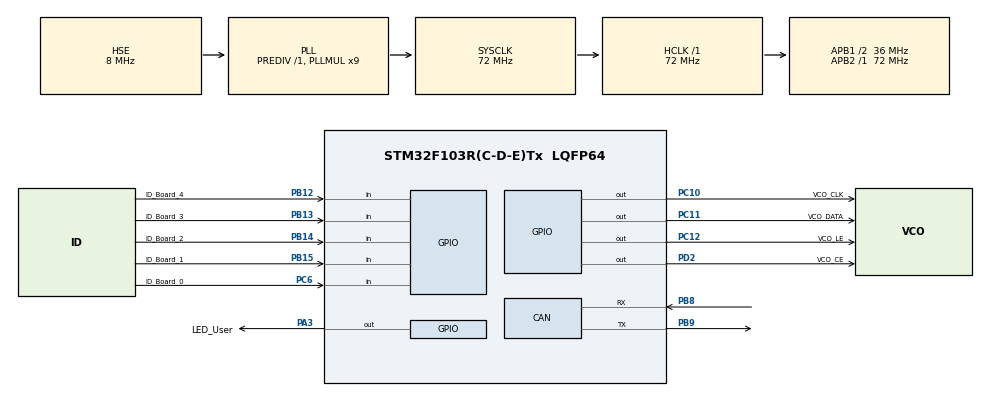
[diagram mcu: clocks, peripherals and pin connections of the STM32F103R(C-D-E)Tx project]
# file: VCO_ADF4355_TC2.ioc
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CAN.ABOM=ENABLE
CAN.AWUM=ENABLE
CAN.BS1=CAN_BS1_3TQ
CAN.BS2=CAN_BS2_5TQ
CAN.CalculateTimeBit=4000
CAN.CalculateTimeQuantum=444.44444444444446
Mcu.Family=STM32F1
Mcu.Name=STM32F103R(C-D-E)Tx
Mcu.Package=LQFP64
NVIC.PriorityGroup=NVIC_PRIORITYGROUP_4
NVIC.USB_LP_CAN1_RX0_IRQn=true\:0\:0\:false\:false\:true\:true
PA3.GPIO_Label=LED_User
PA3.GPIO_Speed=GPIO_SPEED_FREQ_LOW
PA3.Signal=GPIO_Output
PB12.GPIO_Label=ID_Board_4
PB12.GPIO_PuPd=GPIO_PULLDOWN
PB12.Signal=GPIO_Input
PB13.GPIO_Label=ID_Board_3
PB13.GPIO_PuPd=GPIO_PULLDOWN
PB13.Signal=GPIO_Input
PB14.GPIO_Label=ID_Board_2
PB14.GPIO_PuPd=GPIO_PULLDOWN
PB14.Signal=GPIO_Input
PB15.GPIO_Label=ID_Board_1
PB15.GPIO_PuPd=GPIO_PULLDOWN
PB15.Signal=GPIO_Input
PB8.Mode=Master
PB8.Signal=CAN_RX
PB9.Mode=Master
PB9.Signal=CAN_TX
PC10.GPIO_Label=VCO_CLK
PC10.GPIO_Speed=GPIO_SPEED_FREQ_HIGH
PC10.Signal=GPIO_Output
PC11.GPIO_Label=VCO_DATA
PC11.GPIO_Speed=GPIO_SPEED_FREQ_HIGH
PC11.Signal=GPIO_Output
PC12.GPIO_Label=VCO_LE
PC12.GPIO_Speed=GPIO_SPEED_FREQ_HIGH
PC12.Signal=GPIO_Output
PC6.GPIO_Label=ID_Board_0
PC6.GPIO_PuPd=GPIO_PULLDOWN
PC6.Signal=GPIO_Input
PD0-OSC_IN.Mode=HSE-External-Oscillator
PD0-OSC_IN.Signal=RCC_OSC_IN
PD1-OSC_OUT.Mode=HSE-External-Oscillator
PD1-OSC_OUT.Signal=RCC_OSC_OUT
PD2.GPIO_Label=VCO_CE
PD2.Signal=GPIO_Output
ProjectManager.HeapSize=0x200
ProjectManager.StackSize=0x400
ProjectManager.TargetToolchain=MDK-ARM V5
RCC.AHBFreq_Value=72000000
RCC.APB1CLKDivider=RCC_HCLK_DIV2
RCC.APB1Freq_Value=36000000
RCC.APB1TimFreq_Value=72000000
RCC.APB2Freq_Value=72000000
RCC.APB2TimFreq_Value=72000000
RCC.HCLKFreq_Value=72000000
RCC.PLLMUL=RCC_PLL_MUL9
RCC.PLLSourceVirtual=RCC_PLLSOURCE_HSE
RCC.SYSCLKFreq_VALUE=72000000
RCC.SYSCLKSource=RCC_SYSCLKSOURCE_PLLCLK
RCC.USBFreq_Value=72000000
VP_SYS_VS_ND.Mode=No_Debug
board=VCO_ADF4355_TC2

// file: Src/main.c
/**
  ******************************************************************************
  * @file           : main.c
  * @brief          : Main program body
  ******************************************************************************
  ** This notice applies to any and all portions of this file
  * that are not between comment pairs USER CODE BEGIN and
  * USER CODE END. Other portions of this file, whether
  * inserted by the user or by software development tools
  * are owned by their respective copyright owners.
  *
  * COPYRIGHT(c) 2019 STMicroelectronics
  *
  * Redistribution and use in source and binary forms, with or without modification,
  * are permitted provided that the following conditions are met:
  *   1. Redistributions of source code must retain the above copyright notice,
  *      this list of conditions and the following disclaimer.
  *   2. Redistributions in binary form must reproduce the above copyright notice,
  *      this list of conditions and the following disclaimer in the documentation
  *      and/or other materials provided with the distribution.
  *   3. Neither the name of STMicroelectronics nor the names of its contributors
  *      may be used to endorse or promote products derived from this software
  *      without specific prior written permission.
  *
  * THIS SOFTWARE IS PROVIDED BY THE COPYRIGHT HOLDERS AND CONTRIBUTORS "AS IS"
  * AND ANY EXPRESS OR IMPLIED WARRANTIES, INCLUDING, BUT NOT LIMITED TO, THE
  * IMPLIED WARRANTIES OF MERCHANTABILITY AND FITNESS FOR A PARTICULAR PURPOSE ARE
  * DISCLAIMED. IN NO EVENT SHALL THE COPYRIGHT HOLDER OR CONTRIBUTORS BE LIABLE
  * FOR ANY DIRECT, INDIRECT, INCIDENTAL, SPECIAL, EXEMPLARY, OR CONSEQUENTIAL
  * DAMAGES (INCLUDING, BUT NOT LIMITED TO, PROCUREMENT OF SUBSTITUTE GOODS OR
  * SERVICES; LOSS OF USE, DATA, OR PROFITS; OR BUSINESS INTERRUPTION) HOWEVER
  * CAUSED AND ON ANY THEORY OF LIABILITY, WHETHER IN CONTRACT, STRICT LIABILITY,
  * OR TORT (INCLUDING NEGLIGENCE OR OTHERWISE) ARISING IN ANY WAY OUT OF THE USE
  * OF THIS SOFTWARE, EVEN IF ADVISED OF THE POSSIBILITY OF SUCH DAMAGE.
  *
  ******************************************************************************
  */
#include "main.h"
#include "stm32f1xx_hal.h"

/* USER CODE BEGIN Includes */
#include <math.h>

#define         _CLK_HIGH									HAL_GPIO_WritePin(VCO_CLK_GPIO_Port,VCO_CLK_Pin,1)
#define 		_CLK_LOW									HAL_GPIO_WritePin(VCO_CLK_GPIO_Port,VCO_CLK_Pin,0)

#define         _LE_HIGH									HAL_GPIO_WritePin(VCO_LE_GPIO_Port,VCO_LE_Pin,1)
#define 		_LE_LOW									  HAL_GPIO_WritePin(VCO_LE_GPIO_Port,VCO_LE_Pin,0)

#define         _CE_HIGH									HAL_GPIO_WritePin(VCO_CE_GPIO_Port,VCO_CE_Pin,1)
#define 		_CE_LOW									  HAL_GPIO_WritePin(VCO_CE_GPIO_Port,VCO_CE_Pin,0)

/* USER CODE END Includes */

CAN_HandleTypeDef hcan;

/* USER CODE BEGIN PV */
/* Private variables ---------------------------------------------------------*/

// for CAN
//Filter
#define	ID_IDE_Filter     			1   // Filter 29 bit
#define	ID_RTR_Filter     			1   // filter remote Msg
#define	Mask_IDE								1   // care
#define	Mask_RTR				  			1   // care

#define	ID_STD_Filter     			0  // filter 11 bit
#define	ID_DATA_Filter        	0  // filter data Msg
#define	NO_Mask_IDE				    	0  //dont care
#define	NO_Mask_RTR				    	0  //dont care

uint8_t RX_DATA[8] = {0,0,0,0,0,0,0,0};			// luu goi thong tin CAN_RX
/* cau truc 8 Bytes nhu sau:
[1,2,3]. 	Header: 3 Byte: "DAT"
[4].			phan loai lenh: 	'K': dieu khien cho cac kenh
														'F': dieu khien cho VCO tao thay doi tan so
[5]			  Chi so Kenh: int: [0..31]
[6] 			Pha_bin[8..1]
[7]				Pha_OPT[0]
[8]				ATT_Bin [6..0]
*/

uint8_t volatile CAN_FlAG = 0;

#define  MOD1  					16777216
#define  MOD2  					16383

#define  F_ref  					50  	// Mhz
#define  F_PFD  					100  // Mhz

float F_VCO;
float N, FRAC, ti_so_Frac2Mode2;
uint32_t FRAC1, FRAC2, INT_Value;

uint8_t ID_0,ID_1,ID_2,ID_3,ID_4;
uint8_t ID_BOARD = 0;
uint32_t ADDR_VCO_BOARD = 0;     //ADDR_VCO_BOARD = BASE_ADDR + ID_BOARD
#define		BASE_ADDR			100

// FOR VCO
float  Freq_out;
uint32_t volatile register_ADF4355[13] = {
     0x1050C, 					// R12
     0x81200B,
     0x60003EBA,
     0x34067F99,
     0x1A69A6B8,
     0x100002E7,
		 0x35248076,              // 76: +5dBm, 66: + 2 dBm, 56: -1dBm, 46: -4 dBm
     0x800025,
     0x34008984,
     0x3,
     0x3FFF2,
     0x1,
     0x3A0 						// R0
};

/* USER CODE END PV */

void SystemClock_Config(void);
static void MX_GPIO_Init(void);
static void MX_CAN_Init(void);

/* USER CODE BEGIN PFP */
/* Private function prototypes -----------------------------------------------*/

/* USER CODE END PFP */

/* USER CODE BEGIN 0 */
void CACULATOR_ADF4355(float F_out);						// tinhtoan va update du lieu moi vao thanh ghi
void CONFIG_REG_VCO_ADF4355(uint32_t REG_VALUE)	;							// thuc hien cau hinh cho ADF4355
/* USER CODE END 0 */

int main(void)
{
  /* USER CODE BEGIN 1 */
	CanRxMsgTypeDef					RX_Msg;
	CAN_FilterConfTypeDef  	RX_Msg_Filter;

  /* USER CODE END 1 */

  /* MCU Configuration----------------------------------------------------------*/

  /* Reset of all peripherals, Initializes the Flash interface and the Systick. */
  HAL_Init();

  /* Configure the system clock */
  SystemClock_Config();

  /* Initialize all configured peripherals */
  MX_GPIO_Init();
  MX_CAN_Init();
  /* USER CODE BEGIN 2 */

// Lay ID Board: du lieu tu Switch
	//
	ID_0 = HAL_GPIO_ReadPin(ID_Board_0_GPIO_Port,ID_Board_0_Pin);
	ID_1 = HAL_GPIO_ReadPin(ID_Board_1_GPIO_Port,ID_Board_1_Pin);
	ID_2 = HAL_GPIO_ReadPin(ID_Board_2_GPIO_Port,ID_Board_2_Pin);
	ID_3 = HAL_GPIO_ReadPin(ID_Board_3_GPIO_Port,ID_Board_3_Pin);
	ID_4 = HAL_GPIO_ReadPin(ID_Board_4_GPIO_Port,ID_Board_4_Pin);
	ID_BOARD = ID_0 | (ID_1 << 1 )|(ID_2 << 2 )|(ID_3 << 3 )|(ID_4 << 4 );

	ADDR_VCO_BOARD = BASE_ADDR + ID_BOARD;   // dia chi CAN cua board

// THIET LAP TRANG THAI DAU CHO vco
				_CE_HIGH;

				HAL_Delay(100);
				_LE_HIGH;
				_CLK_LOW;
				HAL_GPIO_WritePin(VCO_DATA_GPIO_Port,VCO_DATA_Pin,0);

// Thiet lap CAN Bus: RX_ONLY ..............................................
	// 1. cho phep chay trong khi Debug
	hcan.Instance->MCR = 0x60;

	// 2.set up FILTERs for RX
	//RX_Msg_Filter.SlaveStartFilterBank = 14;    // chi danh cho cac MCU co 2 CAN tro len: stm32f4...
	RX_Msg_Filter.FilterNumber = 0;
	RX_Msg_Filter.BankNumber   = 14;  						// CAN2SB , CAN2 Start slaver bank: STM32f103: trong F103 do chi co 1 CAn nen tham so nay khong co y nghia
	RX_Msg_Filter.FilterMode   = CAN_FILTERMODE_IDMASK;//CAN_FILTERMODE_IDLIST ;//; CAN_FILTERMODE_IDMASK; ;

	// ###  Che do SCALER 32 bit cho cac Filter
	RX_Msg_Filter.FilterScale  = CAN_FILTERSCALE_32BIT;//CAN_FILTERSCALE_16BIT;
	//	ADDR: 29 bit
	// Khong quan tam 2 bit cuoi cung cua dia chi: de cho 4 kenh tren 1 board: 0x1FFFFFFC
	uint32_t Mask_Filter 						= (0x1FFFFFFC 			<< 3)| Mask_IDE |Mask_RTR;   // 1: bit do duoc so sanh, 0: bo qua khong duoc so sanh: loc ca kieu dia chi va kieu du lieu: data or remote
	uint32_t ID_Filter							= (ADDR_VCO_BOARD   << 3)| ID_IDE_Filter |ID_DATA_Filter;  // loc kieu 29 bit va loai DATA
	RX_Msg_Filter.FilterIdHigh  		= (ID_Filter &0xFFFF0000) >> 16; 		// 11 bit cao trong thanh ghi phan cao 16 bit:
	RX_Msg_Filter.FilterIdLow				= (ID_Filter &0x0000FFFF) ;
	RX_Msg_Filter.FilterMaskIdHigh 	= (Mask_Filter &0xFFFF0000) >> 16 ;  // tai nhung bit == 1 se dc kiem tra va mask thi se nhan data vao fifo || chi co y nghia khi dung che do Mask.
	RX_Msg_Filter.FilterMaskIdLow  	= (Mask_Filter &0x0000FFFF) ;
	//
	// Nhan du lieu qua FIFO_0
	RX_Msg_Filter.FilterFIFOAssignment = CAN_FILTER_FIFO0;				// luu vao fifo 0
	RX_Msg_Filter.FilterActivation = ENABLE;

	hcan.pRxMsg = &RX_Msg;   	// phai co lenh nay de tranh con tro co gia tri NULL gay loi ngat cung

 // Thuc hien cau hinh FILTER
	 if (HAL_CAN_ConfigFilter(&hcan, &RX_Msg_Filter) != HAL_OK)
  {
    /* Filter configuration Error */
    Error_Handler();
  }

	// Cho phep ngat RX_FIFO_0
	hcan.Instance->IER |= (1<<1); //  cho phep ngat RX FIFO_0: 1<< 1 ; fifo_1: 1<<4

	HAL_GPIO_WritePin(LED_User_GPIO_Port,LED_User_Pin,1);		// bat
	HAL_Delay(1000);
	HAL_GPIO_WritePin(LED_User_GPIO_Port,LED_User_Pin,0);		// bat

	// cau hinh mac dinh
	CAN_FlAG = 1;
	Freq_out = 1160;    // tan so mac dinh

  /* USER CODE END 2 */

  /* Infinite loop */
  while (1)
  {

  /* USER CODE BEGIN 3 */

		if (CAN_FlAG == 1)
		{
				CAN_FlAG = 0;
				CACULATOR_ADF4355(Freq_out);   										// tinh toan va update gia tri thanh ghi

					CONFIG_REG_VCO_ADF4355(register_ADF4355[0]);   //R12
					CONFIG_REG_VCO_ADF4355(register_ADF4355[1]);		// R11
					CONFIG_REG_VCO_ADF4355(register_ADF4355[2]);		//R10

					CONFIG_REG_VCO_ADF4355(register_ADF4355[12-4]); // R4

					CONFIG_REG_VCO_ADF4355(register_ADF4355[3]);  //R9
					CONFIG_REG_VCO_ADF4355(register_ADF4355[4]);
					CONFIG_REG_VCO_ADF4355(register_ADF4355[5]);
					CONFIG_REG_VCO_ADF4355(register_ADF4355[6]);
					CONFIG_REG_VCO_ADF4355(register_ADF4355[7]);
					CONFIG_REG_VCO_ADF4355(register_ADF4355[8]);
					CONFIG_REG_VCO_ADF4355(register_ADF4355[9]);
					CONFIG_REG_VCO_ADF4355(register_ADF4355[10]);
					CONFIG_REG_VCO_ADF4355(register_ADF4355[11]);   //R1

					HAL_Delay(1);   // wait for ADC set: it nhat la 0.204 (ms)
					CONFIG_REG_VCO_ADF4355(register_ADF4355[12] | (1 << 21));		//R0   : auto cal = enable

					CONFIG_REG_VCO_ADF4355(register_ADF4355[8]);    // R4
					CONFIG_REG_VCO_ADF4355(register_ADF4355[10]);		// R2
					CONFIG_REG_VCO_ADF4355(register_ADF4355[11]);		// R1
					CONFIG_REG_VCO_ADF4355(register_ADF4355[12]);		// R0  : : auto cal = Disable

				// dua ve trang thai mac dinh
				_LE_HIGH;
				_CLK_LOW;
				HAL_GPIO_WritePin(VCO_DATA_GPIO_Port,VCO_DATA_Pin,0);
			// LED bao
			 HAL_GPIO_WritePin(LED_User_GPIO_Port,LED_User_Pin,1);		// bat
			 HAL_Delay(500);
			 HAL_GPIO_WritePin(LED_User_GPIO_Port,LED_User_Pin,0);		// tat

		}

	}

  /* USER CODE END 3 */

}

void SystemClock_Config(void)
{

  RCC_OscInitTypeDef RCC_OscInitStruct;
  RCC_ClkInitTypeDef RCC_ClkInitStruct;

    /**Initializes the CPU, AHB and APB busses clocks
    */
  RCC_OscInitStruct.OscillatorType = RCC_OSCILLATORTYPE_HSE;
  RCC_OscInitStruct.HSEState = RCC_HSE_ON;
  RCC_OscInitStruct.HSEPredivValue = RCC_HSE_PREDIV_DIV1;
  RCC_OscInitStruct.HSIState = RCC_HSI_ON;
  RCC_OscInitStruct.PLL.PLLState = RCC_PLL_ON;
  RCC_OscInitStruct.PLL.PLLSource = RCC_PLLSOURCE_HSE;
  RCC_OscInitStruct.PLL.PLLMUL = RCC_PLL_MUL9;
  if (HAL_RCC_OscConfig(&RCC_OscInitStruct) != HAL_OK)
  {
    _Error_Handler(__FILE__, __LINE__);
  }

    /**Initializes the CPU, AHB and APB busses clocks
    */
  RCC_ClkInitStruct.ClockType = RCC_CLOCKTYPE_HCLK|RCC_CLOCKTYPE_SYSCLK
                              |RCC_CLOCKTYPE_PCLK1|RCC_CLOCKTYPE_PCLK2;
  RCC_ClkInitStruct.SYSCLKSource = RCC_SYSCLKSOURCE_PLLCLK;
  RCC_ClkInitStruct.AHBCLKDivider = RCC_SYSCLK_DIV1;
  RCC_ClkInitStruct.APB1CLKDivider = RCC_HCLK_DIV2;
  RCC_ClkInitStruct.APB2CLKDivider = RCC_HCLK_DIV1;

  if (HAL_RCC_ClockConfig(&RCC_ClkInitStruct, FLASH_LATENCY_2) != HAL_OK)
  {
    _Error_Handler(__FILE__, __LINE__);
  }

    /**Configure the Systick interrupt time
    */
  HAL_SYSTICK_Config(HAL_RCC_GetHCLKFreq()/1000);

    /**Configure the Systick
    */
  HAL_SYSTICK_CLKSourceConfig(SYSTICK_CLKSOURCE_HCLK);

  /* SysTick_IRQn interrupt configuration */
  HAL_NVIC_SetPriority(SysTick_IRQn, 0, 0);
}

/* CAN init function */
static void MX_CAN_Init(void)
{

  hcan.Instance = CAN1;
  hcan.Init.Prescaler = 16;
  hcan.Init.Mode = CAN_MODE_NORMAL;
  hcan.Init.SJW = CAN_SJW_1TQ;
  hcan.Init.BS1 = CAN_BS1_3TQ;
  hcan.Init.BS2 = CAN_BS2_5TQ;
  hcan.Init.TTCM = DISABLE;
  hcan.Init.ABOM = ENABLE;
  hcan.Init.AWUM = ENABLE;
  hcan.Init.NART = DISABLE;
  hcan.Init.RFLM = DISABLE;
  hcan.Init.TXFP = DISABLE;
  if (HAL_CAN_Init(&hcan) != HAL_OK)
  {
    _Error_Handler(__FILE__, __LINE__);
  }

}

/** Configure pins as
        * Analog
        * Input
        * Output
        * EVENT_OUT
        * EXTI
*/
static void MX_GPIO_Init(void)
{

  GPIO_InitTypeDef GPIO_InitStruct;

  /* GPIO Ports Clock Enable */
  __HAL_RCC_GPIOD_CLK_ENABLE();
  __HAL_RCC_GPIOA_CLK_ENABLE();
  __HAL_RCC_GPIOB_CLK_ENABLE();
  __HAL_RCC_GPIOC_CLK_ENABLE();

  /*Configure GPIO pin Output Level */
  HAL_GPIO_WritePin(LED_User_GPIO_Port, LED_User_Pin, GPIO_PIN_RESET);

  /*Configure GPIO pin Output Level */
  HAL_GPIO_WritePin(GPIOC, VCO_CLK_Pin|VCO_DATA_Pin|VCO_LE_Pin, GPIO_PIN_RESET);

  /*Configure GPIO pin Output Level */
  HAL_GPIO_WritePin(VCO_CE_GPIO_Port, VCO_CE_Pin, GPIO_PIN_RESET);

  /*Configure GPIO pin : LED_User_Pin */
  GPIO_InitStruct.Pin = LED_User_Pin;
  GPIO_InitStruct.Mode = GPIO_MODE_OUTPUT_PP;
  GPIO_InitStruct.Speed = GPIO_SPEED_FREQ_LOW;
  HAL_GPIO_Init(LED_User_GPIO_Port, &GPIO_InitStruct);

  /*Configure GPIO pins : ID_Board_4_Pin ID_Board_3_Pin ID_Board_2_Pin ID_Board_1_Pin */
  GPIO_InitStruct.Pin = ID_Board_4_Pin|ID_Board_3_Pin|ID_Board_2_Pin|ID_Board_1_Pin;
  GPIO_InitStruct.Mode = GPIO_MODE_INPUT;
  GPIO_InitStruct.Pull = GPIO_PULLDOWN;
  HAL_GPIO_Init(GPIOB, &GPIO_InitStruct);

  /*Configure GPIO pin : ID_Board_0_Pin */
  GPIO_InitStruct.Pin = ID_Board_0_Pin;
  GPIO_InitStruct.Mode = GPIO_MODE_INPUT;
  GPIO_InitStruct.Pull = GPIO_PULLDOWN;
  HAL_GPIO_Init(ID_Board_0_GPIO_Port, &GPIO_InitStruct);

  /*Configure GPIO pins : VCO_CLK_Pin VCO_DATA_Pin VCO_LE_Pin */
  GPIO_InitStruct.Pin = VCO_CLK_Pin|VCO_DATA_Pin|VCO_LE_Pin;
  GPIO_InitStruct.Mode = GPIO_MODE_OUTPUT_PP;
  GPIO_InitStruct.Speed = GPIO_SPEED_FREQ_HIGH;
  HAL_GPIO_Init(GPIOC, &GPIO_InitStruct);

  /*Configure GPIO pin : VCO_CE_Pin */
  GPIO_InitStruct.Pin = VCO_CE_Pin;
  GPIO_InitStruct.Mode = GPIO_MODE_OUTPUT_PP;
  GPIO_InitStruct.Speed = GPIO_SPEED_FREQ_LOW;
  HAL_GPIO_Init(VCO_CE_GPIO_Port, &GPIO_InitStruct);

}

/* USER CODE BEGIN 4 */
void HAL_CAN_RxCpltCallback(CAN_HandleTypeDef* hcan)
{
	uint32_t phan_thphan = 0;

	CAN_FlAG = 0;
	RX_DATA[0] = hcan->pRxMsg->Data[0];
	RX_DATA[1] = hcan->pRxMsg->Data[1];
	RX_DATA[2] = hcan->pRxMsg->Data[2];
	RX_DATA[3] = hcan->pRxMsg->Data[3];

	RX_DATA[4] = hcan->pRxMsg->Data[4];
	RX_DATA[5] = hcan->pRxMsg->Data[5];
	RX_DATA[6] = hcan->pRxMsg->Data[6];
	RX_DATA[7] = hcan->pRxMsg->Data[7];
	// kiem tra Header
	if ((RX_DATA[0] =='D')&&(RX_DATA[1] =='A')&& (RX_DATA[2] =='T')&&(RX_DATA[3] =='F'))
	{
		CAN_FlAG = 1;
		// gan gia tri tuong ung .............
		// gai tri tan so can thiet lap duoc luu trong 4 byte: 2 bytes phan nguyen, 2 bytes phan thap phan
		//  "[4][5]. [6][7]"
		Freq_out = (RX_DATA[4] << 8) + RX_DATA[5];   // lay phan nguyen
		phan_thphan = (RX_DATA[6] << 8) + RX_DATA[7]; // lay phan thap phan
		if (phan_thphan < 10) Freq_out = Freq_out + 0.1 * phan_thphan;
		else if (phan_thphan < 100) Freq_out = Freq_out + 0.01 * phan_thphan;
				 else if (phan_thphan < 1000) Freq_out = Freq_out + 0.001 * phan_thphan;
							else if (phan_thphan < 10000) Freq_out = Freq_out + 0.0001 * phan_thphan;
										else if (phan_thphan < 100000) Freq_out = Freq_out + 0.00001 * phan_thphan;

	}
	hcan->Instance->RF0R |= (1 <<5);   	// giai phong mail khoi FIFO
	hcan->Instance->IER 	= (1<<1);  			// cho phep tiep tuc ngat
}

// FOR ADF4355
void CACULATOR_ADF4355(float F_out)						// tinhtoan va update du lieu moi vao thanh ghi
{
// thuc hien tinh toan va update du lieu vao thanh ghi
uint32_t	RF_dev_Sel = 0;
uint32_t	N_Dev_out = 1;
	F_VCO = N_Dev_out *F_out;
while (F_VCO < 3300.0)
	{
		N_Dev_out = 2* N_Dev_out;
		F_VCO = N_Dev_out* F_out;
		RF_dev_Sel = RF_dev_Sel + 1;
	}

	// tinh toan cac tham so khac
	N 				= F_VCO/F_PFD;
	INT_Value = floor(N);
	FRAC			=	N - INT_Value;
	FRAC1 		=	floor(FRAC*	MOD1);

	ti_so_Frac2Mode2 = FRAC*	MOD1 - FRAC1;
	FRAC2 		= round (ti_so_Frac2Mode2 * MOD2);

	// thiet lap he so chia RF out
	register_ADF4355[12-6] = (register_ADF4355[12-6] & 0xFF1FFFFF) | ((RF_dev_Sel & 0x07) << 21);

	// he so chia VCO
	register_ADF4355[12-0] = (INT_Value << 4) + 0;   							//R0
	register_ADF4355[12-1] = (FRAC1 << 4) 		+ 1;   							//R1
	register_ADF4355[12-2] = (FRAC2 << 18) + (MOD2 << 4)  + 2 ;   //R2

}

void CONFIG_REG_VCO_ADF4355(uint32_t REG_VALUE)							// thuc hien cau hinh cho ADF4355
{
    uint32_t i = 0;
    _LE_LOW;
		HAL_Delay(1);
    for( i = 0; i < 32; i++)
		{
			HAL_GPIO_WritePin(VCO_DATA_GPIO_Port,VCO_DATA_Pin,(REG_VALUE >>(31-i)) & 1);
			HAL_Delay(1);
			_CLK_HIGH;
			HAL_Delay(1);
			_CLK_LOW;
			HAL_Delay(1);
    }
    _LE_HIGH;
		HAL_Delay(1);
}
/* USER CODE END 4 */

void _Error_Handler(char *file, int line)
{
  while(1)
  {
  }
}

/************************ (C) COPYRIGHT STMicroelectronics *****END OF FILE****/
